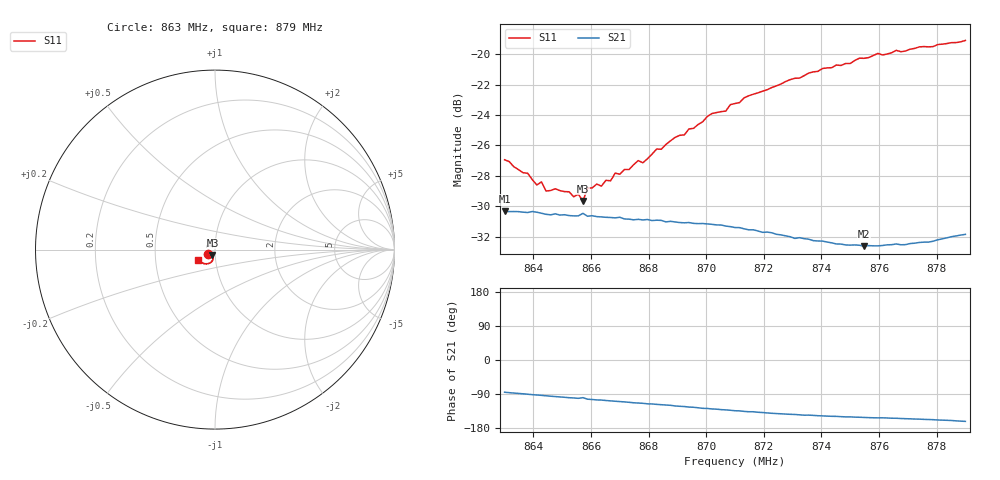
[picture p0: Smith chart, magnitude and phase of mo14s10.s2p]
# HZ S RI R 50
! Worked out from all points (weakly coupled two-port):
!   101 points, 863 MHz to 879 MHz, reference 50 ohm
!   highest |S21| = -30.34 dB at 863 MHz (marker M1); lowest = -32.6 dB at 875.48 MHz (marker M2)
!   lowest |S11| = -29.7 dB at 865.72 MHz (marker M3), VSWR 1.07, Z = 48.5 - j2.89 ohm
!   |S11| at or under -10 dB: start of sweep to end of sweep
!   S12 and S22 are empty: the file has one direction only
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8.63e8  -0.0379 -0.0242  0.00266 -0.0303  0 0  0 0
8.638e8  -0.0324 -0.0244  -0.000158 -0.0301  0 0  0 0
8.6412e8  -0.0285 -0.0238  -0.00124 -0.0302  0 0  0 0
8.6428e8  -0.0285 -0.0251  -0.00174 -0.0299  0 0  0 0
8.6444e8  -0.0256 -0.0246  -0.00231 -0.0296  0 0  0 0
8.6556e8  -0.0189 -0.029  -0.00567 -0.0288  0 0  0 0
8.6572e8  -0.014 -0.0297  -0.00489 -0.0295  0 0  0 0
8.6588e8  -0.0167 -0.0322  -0.00679 -0.0285  0 0  0 0
8.6636e8  -0.0151 -0.0336  -0.00788 -0.0281  0 0  0 0
8.6684e8  -0.0136 -0.0383  -0.00933 -0.0274  0 0  0 0
8.6732e8  -0.0122 -0.0399  -0.0105 -0.0266  0 0  0 0
8.6764e8  -0.0127 -0.0428  -0.0114 -0.0262  0 0  0 0
8.678e8  -0.0106 -0.0426  -0.0117 -0.026  0 0  0 0
8.6828e8  -0.0102 -0.0477  -0.013 -0.0253  0 0  0 0
8.6844e8  -0.0107 -0.0475  -0.0133 -0.0251  0 0  0 0
8.702e8  -0.0151 -0.062  -0.0174 -0.0214  0 0  0 0
8.7068e8  -0.0144 -0.0634  -0.0181 -0.0203  0 0  0 0
8.71e8  -0.0184 -0.0663  -0.0187 -0.0194  0 0  0 0
8.7372e8  -0.0384 -0.0786  -0.0202 -0.0136  0 0  0 0
8.7548e8  -0.0561 -0.0791  -0.0205 -0.0111  0 0  0 0
8.7644e8  -0.0673 -0.0755  -0.0212 -0.0105  0 0  0 0
8.79e8  -0.0931 -0.0603  -0.0243 -0.00791  0 0  0 0
